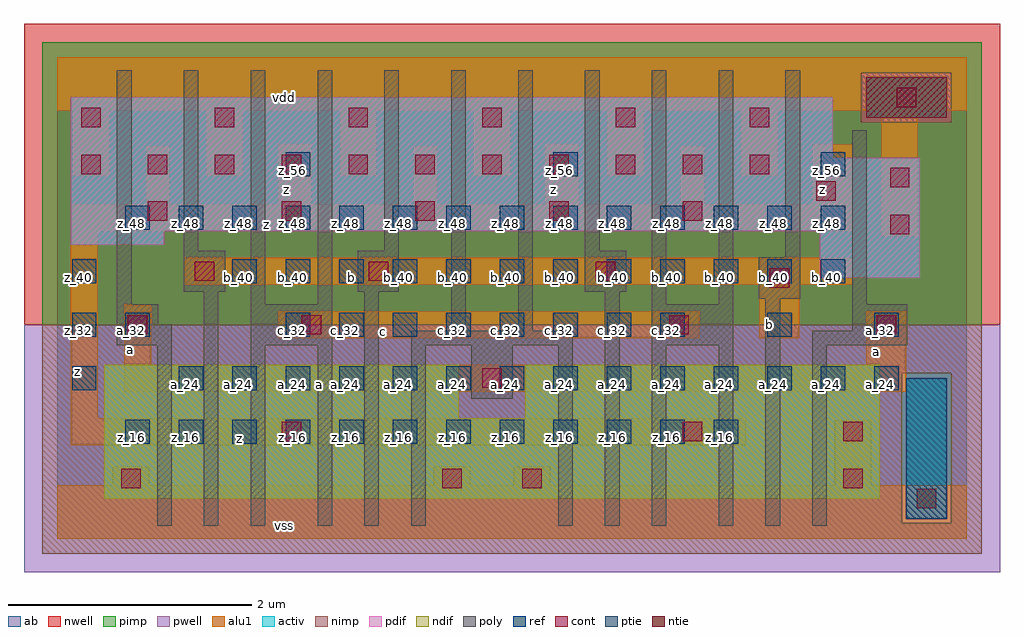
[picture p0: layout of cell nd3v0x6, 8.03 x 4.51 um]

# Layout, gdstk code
import gdstk
lib = gdstk.Library(unit=1e-6, precision=2.5e-09)
def R(c, l, rs):  # rectangles x0, y0, x1, y1
    for r in rs: c.add(gdstk.rectangle(r[:2], r[2:], *l))
def A(c, l, x, y, w, h, nx, ny, dx, dy):  # array of equal rectangles
    R(c, l, [(x+i*dx, y+j*dy, x+i*dx+w, y+j*dy+h) for i in range(nx) for j in range(ny)])
ndif = (3, 0)
pdif = (4, 0)
ntie = (5, 0)
ptie = (6, 0)
ref = (24, 0)
cont = (25, 0)
pwell = (41, 0)
nwell = (42, 0)
activ = (43, 0)
pimp = (44, 0)
nimp = (45, 0)
poly = (46, 0)
alu1 = (49, 0)
ab = (63, 0)

nd3v0x6 = lib.new_cell('nd3v0x6')
R(nd3v0x6, ndif, [(0.385,0.33,6.765,0.99), (0.385,0.99,3.3,1.43), (3.85,0.99,6.765,1.43)])
R(nd3v0x6, pdif, [(6.27,2.145,7.095,2.53), (0.11,2.42,0.88,2.53), (0.11,2.53,7.095,3.135), (0.11,3.135,6.38,3.63)])
R(nd3v0x6, ntie, [(6.655,3.465,7.315,3.795)])
R(nd3v0x6, ptie, [(6.985,0.165,7.315,1.32)])
A(nd3v0x6, ref, 0.56, 0.78, 0.2, 0.2, 12, 1, 0.44, 0)
A(nd3v0x6, ref, 0.12, 1.22, 0.2, 0.2, 1, 3, 0, 0.44)
A(nd3v0x6, ref, 1, 1.22, 0.2, 0.2, 14, 1, 0.44, 0)
A(nd3v0x6, ref, 1.88, 1.66, 0.2, 0.2, 8, 1, 0.44, 0)
A(nd3v0x6, ref, 1.44, 2.1, 0.2, 0.2, 12, 1, 0.44, 0)
A(nd3v0x6, ref, 0.56, 2.54, 0.2, 0.2, 14, 1, 0.44, 0)
A(nd3v0x6, ref, 1.88, 2.98, 0.2, 0.2, 3, 1, 2.2, 0)
R(nd3v0x6, ref, [(0.56,1.66,0.76,1.86), (5.84,1.66,6.04,1.86), (6.72,1.66,6.92,1.86)])
A(nd3v0x6, cont, 0.745, 2.615, 0.16, 0.16, 5, 1, 1.1, 0)
A(nd3v0x6, cont, 0.195, 3, 0.16, 0.16, 11, 1, 0.55, 0)
A(nd3v0x6, cont, 0.195, 3.385, 0.16, 0.16, 6, 1, 1.1, 0)
R(nd3v0x6, cont, [(7.07,0.25,7.23,0.41), (0.525,0.415,0.685,0.575), (3.165,0.415,3.325,0.575), (3.825,0.415,3.985,0.575), (6.465,0.415,6.625,0.575), (1.845,0.8,2.005,0.96), (5.145,0.8,5.305,0.96), (6.465,0.8,6.625,0.96), (3.495,1.24,3.655,1.4), (0.58,1.68,0.74,1.84), (2.01,1.68,2.17,1.84), (5.035,1.68,5.195,1.84), (6.74,1.68,6.9,1.84), (5.86,2.065,6.02,2.225), (1.13,2.12,1.29,2.28), (2.56,2.12,2.72,2.28), (4.43,2.12,4.59,2.28), (6.85,2.505,7.01,2.665), (6.245,2.78,6.405,2.94), (6.85,2.89,7.01,3.05), (6.905,3.55,7.065,3.71)])
R(nd3v0x6, pwell, [(-0.275,-0.275,7.755,1.76)])
R(nd3v0x6, nwell, [(-0.275,1.76,7.755,4.235)])
R(nd3v0x6, activ, [(6.985,0.165,7.315,1.32), (0.385,0.33,6.765,0.99), (0.385,0.99,3.3,1.43), (3.85,0.99,6.765,1.43), (6.27,2.145,7.095,2.53), (0.11,2.42,0.88,2.53), (0.11,2.53,7.095,3.135), (0.11,3.135,6.38,3.63), (6.655,3.465,7.315,3.795)])
R(nd3v0x6, pimp, [(6.945,0.125,7.355,1.36), (-0.125,1.76,7.605,3.425), (-0.125,3.425,6.615,3.835), (7.355,3.425,7.605,3.835), (-0.125,3.835,7.605,4.085)])
R(nd3v0x6, nimp, [(-0.125,-0.125,7.605,0.125), (-0.125,0.125,6.945,1.36), (7.355,0.125,7.605,1.36), (-0.125,1.36,7.605,1.76), (6.615,3.425,7.355,3.835)])
A(nd3v0x6, poly, 1.04, 2.37, 0.12, 1.485, 3, 1, 1.65, 0)
R(nd3v0x6, poly, [(0.82,0.105,0.94,1.59), (1.205,0.105,1.325,2.03), (1.59,0.105,1.71,1.59), (2.14,0.105,2.26,1.59), (2.525,0.105,2.645,2.03), (2.91,0.105,3.03,1.59), (4.12,0.105,4.24,1.59), (4.505,0.105,4.625,2.03), (4.89,0.105,5.01,1.59), (5.44,0.105,5.56,1.59), (5.825,0.105,5.945,1.975), (6.21,0.105,6.33,1.59), (3.405,1.15,3.745,1.59), (0.49,1.59,0.94,1.765), (1.59,1.59,2.26,1.93), (2.91,1.59,4.24,1.71), (4.89,1.59,5.56,1.93), (6.21,1.59,6.99,1.71), (3.24,1.71,3.36,3.855), (3.79,1.71,3.91,3.855), (6.54,1.71,6.99,1.93), (0.49,1.765,0.83,1.93), (0.49,1.93,0.61,3.855), (1.59,1.93,1.71,3.855), (2.14,1.93,2.26,3.855), (4.89,1.93,5.01,3.855), (5.44,1.93,5.56,3.855), (6.54,1.93,6.66,3.36), (5.77,1.975,6.11,2.315), (1.04,2.03,1.38,2.37), (2.47,2.03,2.81,2.37), (4.34,2.03,4.68,2.37), (5.99,2.315,6.11,3.855)])
A(nd3v0x6, alu1, 0.73, 2.75, 0.19, 0.48, 3, 1, 2.2, 0)
A(nd3v0x6, alu1, 0.125, 2.985, 0.3, 0.535, 6, 1, 1.1, 0)
R(nd3v0x6, alu1, [(0,0,7.48,0.44), (0.455,0.44,0.755,0.59), (3.095,0.44,3.395,0.59), (3.755,0.44,4.055,0.59), (6.395,0.44,6.695,0.975), (0.11,0.77,5.665,0.99), (0.11,0.99,0.33,2.53), (0.55,1.21,6.985,1.43), (0.55,1.43,0.77,1.925), (6.655,1.43,6.985,1.87), (1.815,1.65,5.28,1.87), (5.775,1.65,6.105,2.09), (1.045,2.09,6.545,2.31), (6.78,2.49,7.08,3.52), (0.11,2.53,6.545,2.75), (1.815,2.75,2.09,3.245), (4.015,2.75,4.29,3.245), (6.215,2.75,6.545,3.245), (0,3.52,7.48,3.96)])
R(nd3v0x6, ab, [(0,0,7.48,3.96)])
nd3v0x6.add(gdstk.Label('vss', (1.87,0.11), layer=49, texttype=0))
nd3v0x6.add(gdstk.Label('z', (1.4975,0.825), layer=49, texttype=0))
nd3v0x6.add(gdstk.Label('a', (2.1575,1.265), layer=49, texttype=0))
nd3v0x6.add(gdstk.Label('a', (6.7375,1.54), layer=49, texttype=0))
nd3v0x6.add(gdstk.Label('b', (5.8575,1.76), layer=49, texttype=0))
nd3v0x6.add(gdstk.Label('c', (2.68,1.705), layer=49, texttype=0))
nd3v0x6.add(gdstk.Label('a', (0.605,1.5525), layer=49, texttype=0))
nd3v0x6.add(gdstk.Label('b', (2.42,2.145), layer=49, texttype=0))
nd3v0x6.add(gdstk.Label('z', (0.165,1.375), layer=49, texttype=0))
nd3v0x6.add(gdstk.Label('z', (1.7175,2.585), layer=49, texttype=0))
nd3v0x6.add(gdstk.Label('z', (6.2975,2.8725), layer=49, texttype=0))
nd3v0x6.add(gdstk.Label('z', (4.0825,2.8725), layer=49, texttype=0))
nd3v0x6.add(gdstk.Label('z', (1.8825,2.8725), layer=49, texttype=0))
nd3v0x6.add(gdstk.Label('vdd', (1.87,3.63), layer=49, texttype=0))
nd3v0x6.add(gdstk.Label('z_16', (5.45,0.83), layer=24, texttype=0))
nd3v0x6.add(gdstk.Label('a_24', (5.45,1.27), layer=24, texttype=0))
nd3v0x6.add(gdstk.Label('b_40', (5.45,2.15), layer=24, texttype=0))
nd3v0x6.add(gdstk.Label('z_48', (5.45,2.59), layer=24, texttype=0))
nd3v0x6.add(gdstk.Label('a_24', (5.89,1.27), layer=24, texttype=0))
nd3v0x6.add(gdstk.Label('b_32', (5.89,1.71), layer=24, texttype=0))
nd3v0x6.add(gdstk.Label('b_40', (5.89,2.15), layer=24, texttype=0))
nd3v0x6.add(gdstk.Label('z_48', (5.89,2.59), layer=24, texttype=0))
nd3v0x6.add(gdstk.Label('a_24', (6.33,1.27), layer=24, texttype=0))
nd3v0x6.add(gdstk.Label('b_40', (6.33,2.15), layer=24, texttype=0))
nd3v0x6.add(gdstk.Label('z_48', (6.33,2.59), layer=24, texttype=0))
nd3v0x6.add(gdstk.Label('z_56', (6.33,3.03), layer=24, texttype=0))
nd3v0x6.add(gdstk.Label('z_16', (0.61,0.83), layer=24, texttype=0))
nd3v0x6.add(gdstk.Label('a_32', (0.61,1.71), layer=24, texttype=0))
nd3v0x6.add(gdstk.Label('z_48', (0.61,2.59), layer=24, texttype=0))
nd3v0x6.add(gdstk.Label('a_24', (6.77,1.27), layer=24, texttype=0))
nd3v0x6.add(gdstk.Label('a_32', (6.77,1.71), layer=24, texttype=0))
nd3v0x6.add(gdstk.Label('z_16', (1.05,0.83), layer=24, texttype=0))
nd3v0x6.add(gdstk.Label('a_24', (1.05,1.27), layer=24, texttype=0))
nd3v0x6.add(gdstk.Label('z_48', (1.05,2.59), layer=24, texttype=0))
nd3v0x6.add(gdstk.Label('z_16', (1.49,0.83), layer=24, texttype=0))
nd3v0x6.add(gdstk.Label('a_24', (1.49,1.27), layer=24, texttype=0))
nd3v0x6.add(gdstk.Label('b_40', (1.49,2.15), layer=24, texttype=0))
nd3v0x6.add(gdstk.Label('z_48', (1.49,2.59), layer=24, texttype=0))
nd3v0x6.add(gdstk.Label('z_16', (1.93,0.83), layer=24, texttype=0))
nd3v0x6.add(gdstk.Label('a_24', (1.93,1.27), layer=24, texttype=0))
nd3v0x6.add(gdstk.Label('c_32', (1.93,1.71), layer=24, texttype=0))
nd3v0x6.add(gdstk.Label('b_40', (1.93,2.15), layer=24, texttype=0))
nd3v0x6.add(gdstk.Label('z_48', (1.93,2.59), layer=24, texttype=0))
nd3v0x6.add(gdstk.Label('z_56', (1.93,3.03), layer=24, texttype=0))
nd3v0x6.add(gdstk.Label('z_24', (0.17,1.27), layer=24, texttype=0))
nd3v0x6.add(gdstk.Label('z_32', (0.17,1.71), layer=24, texttype=0))
nd3v0x6.add(gdstk.Label('z_40', (0.17,2.15), layer=24, texttype=0))
nd3v0x6.add(gdstk.Label('z_16', (2.37,0.83), layer=24, texttype=0))
nd3v0x6.add(gdstk.Label('a_24', (2.37,1.27), layer=24, texttype=0))
nd3v0x6.add(gdstk.Label('c_32', (2.37,1.71), layer=24, texttype=0))
nd3v0x6.add(gdstk.Label('b_40', (2.37,2.15), layer=24, texttype=0))
nd3v0x6.add(gdstk.Label('z_48', (2.37,2.59), layer=24, texttype=0))
nd3v0x6.add(gdstk.Label('z_16', (2.81,0.83), layer=24, texttype=0))
nd3v0x6.add(gdstk.Label('a_24', (2.81,1.27), layer=24, texttype=0))
nd3v0x6.add(gdstk.Label('c_32', (2.81,1.71), layer=24, texttype=0))
nd3v0x6.add(gdstk.Label('b_40', (2.81,2.15), layer=24, texttype=0))
nd3v0x6.add(gdstk.Label('z_48', (2.81,2.59), layer=24, texttype=0))
nd3v0x6.add(gdstk.Label('z_16', (3.25,0.83), layer=24, texttype=0))
nd3v0x6.add(gdstk.Label('a_24', (3.25,1.27), layer=24, texttype=0))
nd3v0x6.add(gdstk.Label('c_32', (3.25,1.71), layer=24, texttype=0))
nd3v0x6.add(gdstk.Label('b_40', (3.25,2.15), layer=24, texttype=0))
nd3v0x6.add(gdstk.Label('z_48', (3.25,2.59), layer=24, texttype=0))
nd3v0x6.add(gdstk.Label('z_16', (3.69,0.83), layer=24, texttype=0))
nd3v0x6.add(gdstk.Label('a_24', (3.69,1.27), layer=24, texttype=0))
nd3v0x6.add(gdstk.Label('c_32', (3.69,1.71), layer=24, texttype=0))
nd3v0x6.add(gdstk.Label('b_40', (3.69,2.15), layer=24, texttype=0))
nd3v0x6.add(gdstk.Label('z_48', (3.69,2.59), layer=24, texttype=0))
nd3v0x6.add(gdstk.Label('z_16', (4.13,0.83), layer=24, texttype=0))
nd3v0x6.add(gdstk.Label('a_24', (4.13,1.27), layer=24, texttype=0))
nd3v0x6.add(gdstk.Label('c_32', (4.13,1.71), layer=24, texttype=0))
nd3v0x6.add(gdstk.Label('b_40', (4.13,2.15), layer=24, texttype=0))
nd3v0x6.add(gdstk.Label('z_48', (4.13,2.59), layer=24, texttype=0))
nd3v0x6.add(gdstk.Label('z_56', (4.13,3.03), layer=24, texttype=0))
nd3v0x6.add(gdstk.Label('z_16', (4.57,0.83), layer=24, texttype=0))
nd3v0x6.add(gdstk.Label('a_24', (4.57,1.27), layer=24, texttype=0))
nd3v0x6.add(gdstk.Label('c_32', (4.57,1.71), layer=24, texttype=0))
nd3v0x6.add(gdstk.Label('b_40', (4.57,2.15), layer=24, texttype=0))
nd3v0x6.add(gdstk.Label('z_48', (4.57,2.59), layer=24, texttype=0))
nd3v0x6.add(gdstk.Label('z_16', (5.01,0.83), layer=24, texttype=0))
nd3v0x6.add(gdstk.Label('a_24', (5.01,1.27), layer=24, texttype=0))
nd3v0x6.add(gdstk.Label('c_32', (5.01,1.71), layer=24, texttype=0))
nd3v0x6.add(gdstk.Label('b_40', (5.01,2.15), layer=24, texttype=0))
nd3v0x6.add(gdstk.Label('z_48', (5.01,2.59), layer=24, texttype=0))

lib.write_gds('nd3v0x6.gds')
